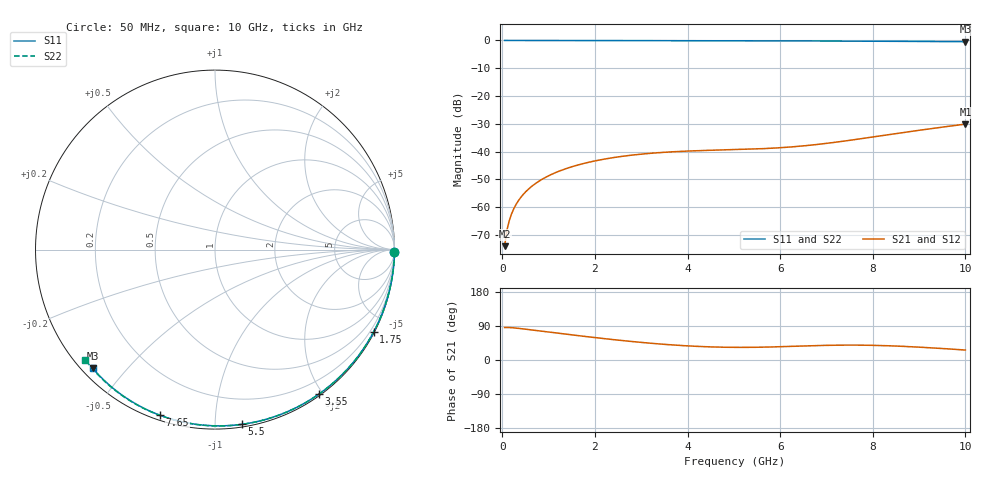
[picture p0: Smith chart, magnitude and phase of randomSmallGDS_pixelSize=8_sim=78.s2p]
! freq	dB(S11)	phase(S11)	dB(S12)	phase(S12)
!  dB(S21)	phase(S21)	dB(S22)	phase(S22)
!S-par simulation data
#  GHz  S  DB  R 50
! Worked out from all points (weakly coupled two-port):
!   200 points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, 50 MHz to 10 GHz, reference 50 ohm
!   highest |S21| = -30.10 dB at 10 GHz (marker M1); lowest = -74.0 dB at 50 MHz (marker M2)
!   lowest |S11| = -0.5 dB at 10 GHz (marker M3), VSWR 38.54, Z = 1.51 - j20.3 ohm
!   |S11| at or under -10 dB: nowhere
!   |S22| runs from -0.5 to 0.0 dB; largest |S21 - S12| = 0
!   S11 on the Smith chart (normalised r, x): 50 MHz: open; 1.75 GHz: 0.04, -4.09; 3.55 GHz: 0.02, -1.95; 5.5 GHz: 0.02, -1.17; 7.65 GHz: 0.02, -0.72; 10 GHz: 0.03, -0.41
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0.05  -0.00 -0.8  -74.00 85.7  -74.00 85.7  -0.00 -0.8
0.1  -0.00 -1.6  -68.28 85.7  -68.28 85.7  -0.00 -1.7
0.15  -0.00 -2.4  -64.85 85.6  -64.85 85.6  -0.00 -2.5
0.2  -0.00 -3.2  -62.40 85.3  -62.40 85.3  -0.00 -3.3
0.25  -0.00 -4.0  -60.48 84.8  -60.48 84.8  -0.00 -4.1
0.35  -0.00 -5.6  -57.59 83.5  -57.59 83.5  -0.00 -5.8
0.5  -0.01 -8.0  -54.53 81.4  -54.53 81.4  -0.01 -8.2
0.7  -0.01 -11.1  -51.66 78.4  -51.66 78.4  -0.01 -11.5
1  -0.02 -15.8  -48.68 73.8  -48.68 73.8  -0.02 -16.3
1.35  -0.03 -21.3  -46.26 68.6  -46.26 68.6  -0.03 -22.0
1.75  -0.04 -27.5  -44.29 62.7  -44.29 62.7  -0.04 -28.4
2.5  -0.05 -38.9  -41.89 52.4  -41.89 52.4  -0.05 -40.1
3.4  -0.07 -52.2  -40.34 42.3  -40.34 42.3  -0.07 -53.8
3.55  -0.07 -54.3  -40.17 40.8  -40.17 40.8  -0.08 -56.0
4.3  -0.09 -65.0  -39.61 35.5  -39.61 35.5  -0.09 -66.9
5.05  -0.11 -75.3  -39.26 33.3  -39.26 33.3  -0.12 -77.5
5.5  -0.13 -81.3  -39.01 33.6  -39.01 33.6  -0.14 -83.6
6.7  -0.19 -96.7  -37.60 37.7  -37.60 37.7  -0.19 -99.4
7.65  -0.24 -108.3  -35.58 39.3  -35.58 39.3  -0.25 -111.3
8.35  -0.29 -116.7  -33.88 37.5  -33.88 37.5  -0.30 -119.9
9.2  -0.37 -126.6  -31.86 32.6  -31.86 32.6  -0.38 -130.1
10  -0.45 -135.8  -30.10 26.3  -30.10 26.3  -0.46 -139.5
